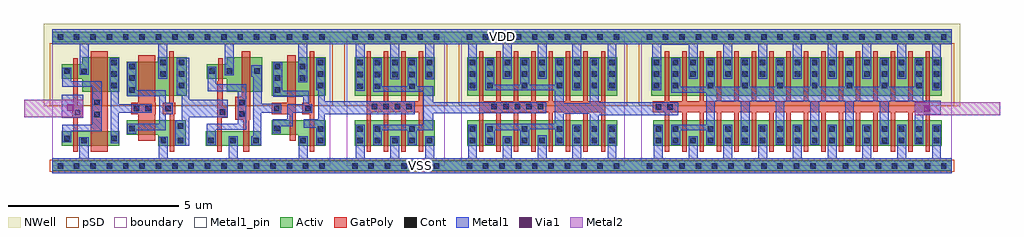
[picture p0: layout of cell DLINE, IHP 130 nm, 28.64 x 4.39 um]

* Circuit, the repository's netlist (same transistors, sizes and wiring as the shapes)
* Extracted by KLayout with SG13G2 LVS runset on : 07/03/2026 14:18

.SUBCKT DLINE VSS VOUT VIN VDD
M$1 \$2 VIN VSS VSS sg13_lv_nmos L=0.13u W=0.42u AS=0.1428p AD=0.0798p PS=1.52u
+ PD=0.8u
M$2 VSS \$2 \$3 VSS sg13_lv_nmos L=0.5u W=0.42u AS=0.0798p AD=0.1428p PS=0.8u
+ PD=1.52u
M$3 \$5 \$4 VSS VSS sg13_lv_nmos L=0.13u W=0.42u AS=0.1428p AD=0.1323p PS=1.52u
+ PD=1.05u
M$4 VSS \$5 \$6 VSS sg13_lv_nmos L=0.18u W=0.42u AS=0.1323p AD=0.1428p PS=1.05u
+ PD=1.52u
M$5 VSS \$3 \$12 VSS sg13_lv_nmos L=0.5u W=0.42u AS=0.1426p AD=0.1428p PS=1.16u
+ PD=1.52u
M$6 VSS \$12 \$4 VSS sg13_lv_nmos L=0.13u W=0.74u AS=0.1426p AD=0.2516p
+ PS=1.16u PD=2.16u
M$7 VSS \$6 \$13 VSS sg13_lv_nmos L=0.18u W=0.42u AS=0.1405p AD=0.2163p
+ PS=1.15u PD=1.87u
M$8 VSS \$13 \$7 VSS sg13_lv_nmos L=0.13u W=0.74u AS=0.1405p AD=0.2516p
+ PS=1.15u PD=2.16u
M$9 VSS \$7 \$8 VSS sg13_lv_nmos L=0.13u W=2.96u AS=0.6734p AD=0.6734p PS=5.52u
+ PD=5.52u
M$13 VSS \$8 \$9 VSS sg13_lv_nmos L=0.13u W=5.92u AS=1.2395p AD=1.2395p
+ PS=10.01u PD=10.01u
M$21 VSS \$9 VOUT VSS sg13_lv_nmos L=0.13u W=11.84u AS=2.3606p AD=2.3606p
+ PS=18.96u PD=18.96u
M$37 VDD VIN \$2 VDD sg13_lv_pmos L=0.13u W=0.42u AS=0.1523p AD=0.1428p
+ PS=1.38u PD=1.52u
M$38 VDD \$2 \$3 VDD sg13_lv_pmos L=0.5u W=1u AS=0.1523p AD=0.34p PS=1.38u
+ PD=2.68u
M$39 VDD \$4 \$5 VDD sg13_lv_pmos L=0.13u W=0.42u AS=0.2481p AD=0.1428p
+ PS=1.56u PD=1.52u
M$40 VDD \$5 \$6 VDD sg13_lv_pmos L=0.25u W=1u AS=0.2481p AD=0.34p PS=1.56u
+ PD=2.68u
M$41 \$12 \$3 VDD VDD sg13_lv_pmos L=0.5u W=1u AS=0.34p AD=0.2254p PS=2.68u
+ PD=1.53u
M$42 VDD \$12 \$4 VDD sg13_lv_pmos L=0.13u W=1.12u AS=0.2254p AD=0.4256p
+ PS=1.53u PD=3u
M$43 \$13 \$6 VDD VDD sg13_lv_pmos L=0.25u W=1u AS=0.445p AD=0.2245p PS=2.89u
+ PD=1.53u
M$44 VDD \$13 \$7 VDD sg13_lv_pmos L=0.13u W=1.12u AS=0.2245p AD=0.3808p
+ PS=1.53u PD=2.92u
M$45 VDD \$7 \$8 VDD sg13_lv_pmos L=0.13u W=4.48u AS=1.0192p AD=1.0192p
+ PS=7.42u PD=7.42u
M$49 VDD \$8 \$9 VDD sg13_lv_pmos L=0.13u W=8.96u AS=1.876p AD=1.876p PS=13.43u
+ PD=13.43u
M$57 VDD \$9 VOUT VDD sg13_lv_pmos L=0.13u W=17.92u AS=3.6288p AD=3.5728p
+ PS=25.52u PD=25.42u
.ENDS DLINE

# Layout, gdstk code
from math import pi, radians
import gdstk
lib = gdstk.Library(unit=1e-6, precision=1e-09)
def R(c, l, rs):  # rectangles x0, y0, x1, y1
    for r in rs: c.add(gdstk.rectangle(r[:2], r[2:], *l))
def A(c, l, x, y, w, h, nx, ny, dx, dy):  # array of equal rectangles
    R(c, l, [(x+i*dx, y+j*dy, x+i*dx+w, y+j*dy+h) for i in range(nx) for j in range(ny)])
def P(c, l, *ps):  # polygons
    for p in ps: c.add(gdstk.Polygon(p, *l))
Activ = (1, 0)
GatPoly = (5, 0)
Cont = (6, 0)
Metal1 = (8, 0)
Metal1_pin = (8, 2)
Metal2 = (10, 0)
pSD = (14, 0)
Via1 = (19, 0)
NWell = (31, 0)
boundary = (189, 4)

sg13g2_dlygate4sd2_1 = lib.new_cell('sg13g2_dlygate4sd2_1')
R(sg13g2_dlygate4sd2_1, Activ, [(-4.79,81.345,-0.95,81.645), (-4.6,82.085,-2.98,82.505), (-4.79,85.125,-0.95,85.425)])
P(sg13g2_dlygate4sd2_1, Activ, [(-1.895,82.085),(-1.895,82.405),(-2.66,82.405),(-2.66,82.825),(-1.085,82.825),(-1.085,82.085)],
  [(-2.66,83.555),(-2.66,84.555),(-1.88,84.555),(-1.88,84.675),(-1.085,84.675),(-1.085,83.555)],
  [(-3.99,83.675),(-3.99,84.05),(-4.57,84.05),(-4.57,84.47),(-3.99,84.47),(-3.99,84.675),(-2.95,84.675),(-2.95,83.675)])
P(sg13g2_dlygate4sd2_1, GatPoly, [(-2.145,82.225),(-2.145,83.015),(-2.67,83.015),(-2.67,83.345),(-2.215,83.345),(-2.215,84.735),(-1.965,84.735),(-1.965,82.225)],
  [(-4.26,81.905),(-4.26,83.975),(-4.23,83.975),(-4.23,84.65),(-4.1,84.65),(-4.1,83.235),(-3.95,83.235),(-3.95,82.905),(-4.13,82.905),(-4.13,81.905)],
  [(-3.5,81.905),(-3.5,82.845),(-3.74,82.845),(-3.74,83.515),(-3.54,83.515),(-3.54,84.855),(-3.29,84.855),(-3.29,82.845),(-3.32,82.845),(-3.32,81.905)],
  [(-1.555,81.905),(-1.555,83.01),(-1.77,83.01),(-1.77,83.34),(-1.555,83.34),(-1.555,84.855),(-1.425,84.855),(-1.425,81.905)])
A(sg13g2_dlygate4sd2_1, Cont, -4.63, 81.415, 0.16, 0.16, 8, 2, 0.48, 3.78)
A(sg13g2_dlygate4sd2_1, Cont, -2.575, 83.645, 0.16, 0.16, 1, 3, 0, 0.34)
A(sg13g2_dlygate4sd2_1, Cont, -1.315, 83.765, 0.16, 0.16, 1, 3, 0, 0.34)
R(sg13g2_dlygate4sd2_1, Cont, [(-4.53,82.155,-4.37,82.315), (-3.88,82.155,-3.72,82.315), (-3.21,82.155,-3.05,82.315), (-1.825,82.155,-1.665,82.315), (-1.315,82.155,-1.155,82.315), (-1.315,82.495,-1.155,82.655), (-2.59,82.51,-2.43,82.67), (-3.625,82.93,-3.465,83.09), (-4.185,82.99,-4.025,83.15), (-1.685,83.095,-1.525,83.255), (-2.6,83.1,-2.44,83.26), (-3.625,83.27,-3.465,83.43), (-1.84,83.99,-1.68,84.15), (-4.5,84.195,-4.34,84.355), (-3.99,84.195,-3.83,84.355), (-3.18,84.195,-3.02,84.355), (-1.84,84.33,-1.68,84.49)])
R(sg13g2_dlygate4sd2_1, Metal1, [(-4.585,82.92,-3.955,83.44)])
P(sg13g2_dlygate4sd2_1, Metal1, [(-2.635,82.455),(-2.635,82.855),(-2.21,82.855),(-2.21,83.305),(-1.745,83.305),(-1.745,83.525),(-2.625,83.525),(-2.625,84.535),(-2.365,84.535),(-2.365,83.7),(-1.585,83.7),(-1.585,83.305),(-1.475,83.305),(-1.475,83.045),(-2.05,83.045),(-2.05,82.655),(-2.395,82.655),(-2.395,82.455)],
  [(-3.27,82.105),(-3.27,82.365),(-3.21,82.365),(-3.21,84.11),(-3.27,84.11),(-3.27,84.44),(-2.965,84.44),(-2.965,83.31),(-2.39,83.31),(-2.39,83.05),(-2.98,83.05),(-2.98,82.105)],
  [(-4.58,82.105),(-4.58,82.735),(-3.67,82.735),(-3.67,83.69),(-4.55,83.69),(-4.55,84.405),(-4.29,84.405),(-4.29,83.895),(-3.415,83.895),(-3.415,82.56),(-4.31,82.56),(-4.31,82.105)],
  [(-1.365,82.105),(-1.365,82.61),(-1.725,82.61),(-1.725,82.865),(-1.295,82.865),(-1.295,83.715),(-1.36,83.715),(-1.36,84.655),(-1.105,84.655),(-1.105,82.105)],
  [(-1.89,83.95),(-1.89,85.055),(-3.78,85.055),(-3.78,84.145),(-4.045,84.145),(-4.045,85.055),(-4.79,85.055),(-4.79,85.495),(-0.95,85.495),(-0.95,85.055),(-1.63,85.055),(-1.63,83.95)],
  [(-4.79,81.275),(-4.79,81.715),(-3.93,81.715),(-3.93,82.365),(-3.67,82.365),(-3.67,81.715),(-1.875,81.715),(-1.875,82.365),(-1.615,82.365),(-1.615,81.715),(-0.95,81.715),(-0.95,81.275)])
R(sg13g2_dlygate4sd2_1, Metal1_pin, [(-4.79,81.275,-0.95,81.715), (-4.79,85.055,-0.95,85.495)])
R(sg13g2_dlygate4sd2_1, pSD, [(-4.86,81.315,-0.88,81.675), (-4.86,83.255,-0.88,85.095)])
R(sg13g2_dlygate4sd2_1, NWell, [(-5.03,83.245,-0.71,85.665)])
R(sg13g2_dlygate4sd2_1, boundary, [(-4.79,81.495,-0.95,85.275)])
sg13g2_dlygate4sd2_1.add(gdstk.Label('VDD', (-2.705,85.285), layer=8, texttype=25))
sg13g2_dlygate4sd2_1.add(gdstk.Label('VSS', (-2.59,81.5), layer=8, texttype=25))

sg13g2_inv_4 = lib.new_cell('sg13g2_inv_4')
R(sg13g2_inv_4, Activ, [(-4.79,81.345,-1.91,81.645), (-4.545,82.085,-2.205,82.825), (-4.545,83.555,-2.205,84.675), (-4.79,85.125,-1.91,85.425)])
P(sg13g2_inv_4, GatPoly, [(-4.205,81.905),(-4.205,84.855),(-4.075,84.855),(-4.075,83.395),(-3.695,83.395),(-3.695,84.855),(-3.565,84.855),(-3.565,83.395),(-3.185,83.395),(-3.185,84.855),(-3.055,84.855),(-3.055,83.395),(-2.675,83.395),(-2.675,84.855),(-2.545,84.855),(-2.545,81.905),(-2.675,81.905),(-2.675,83.065),(-3.055,83.065),(-3.055,81.905),(-3.185,81.905),(-3.185,83.065),(-3.565,83.065),(-3.565,81.905),(-3.695,81.905),(-3.695,83.065),(-4.075,83.065),(-4.075,81.905)])
A(sg13g2_inv_4, Cont, -4.475, 82.155, 0.16, 0.16, 5, 2, 0.51, 2.285)
A(sg13g2_inv_4, Cont, -4.055, 83.15, 0.16, 0.16, 4, 1, 0.34, 0)
R(sg13g2_inv_4, Cont, [(-4.63,81.415,-4.47,81.575), (-4.63,81.415,-4.47,81.575), (-4.15,81.415,-3.99,81.575), (-4.15,81.415,-3.99,81.575), (-3.67,81.415,-3.51,81.575), (-3.67,81.415,-3.51,81.575), (-3.19,81.415,-3.03,81.575), (-3.19,81.415,-3.03,81.575), (-2.71,81.415,-2.55,81.575), (-2.71,81.415,-2.55,81.575), (-2.23,81.415,-2.07,81.575), (-2.23,81.415,-2.07,81.575), (-4.475,82.495,-4.315,82.655), (-3.965,82.495,-3.805,82.655), (-2.945,82.495,-2.785,82.655), (-4.475,83.75,-4.315,83.91), (-3.965,83.75,-3.805,83.91), (-2.945,83.75,-2.785,83.91), (-3.455,84.09,-3.295,84.25), (-2.435,84.09,-2.275,84.25), (-4.475,84.1,-4.315,84.26), (-3.965,84.1,-3.805,84.26), (-2.945,84.1,-2.785,84.26), (-4.63,85.195,-4.47,85.355), (-4.63,85.195,-4.47,85.355), (-4.15,85.195,-3.99,85.355), (-4.15,85.195,-3.99,85.355), (-3.67,85.195,-3.51,85.355), (-3.67,85.195,-3.51,85.355), (-3.19,85.195,-3.03,85.355), (-3.19,85.195,-3.03,85.355), (-2.71,85.195,-2.55,85.355), (-2.71,85.195,-2.55,85.355), (-2.23,85.195,-2.07,85.355), (-2.23,85.195,-2.07,85.355)])
R(sg13g2_inv_4, Metal1, [(-4.31,83.015,-2.79,83.395)])
P(sg13g2_inv_4, Metal1, [(-4.015,82.105),(-4.015,82.705),(-2.545,82.705),(-2.545,83.665),(-4.015,83.665),(-4.015,84.65),(-3.755,84.65),(-3.755,83.835),(-2.995,83.835),(-2.995,84.65),(-2.735,84.65),(-2.735,83.835),(-2.25,83.835),(-2.25,82.545),(-2.735,82.545),(-2.735,82.105),(-2.995,82.105),(-2.995,82.545),(-3.755,82.545),(-3.755,82.105)],
  [(-4.525,83.7),(-4.525,85.055),(-4.79,85.055),(-4.79,85.495),(-1.91,85.495),(-1.91,85.055),(-2.225,85.055),(-2.225,84.04),(-2.485,84.04),(-2.485,85.055),(-3.245,85.055),(-3.245,84.04),(-3.505,84.04),(-3.505,85.055),(-4.265,85.055),(-4.265,83.7)],
  [(-4.79,81.275),(-4.79,81.715),(-4.525,81.715),(-4.525,82.705),(-4.265,82.705),(-4.265,81.715),(-3.51,81.715),(-3.51,82.365),(-3.24,82.365),(-3.24,81.715),(-2.485,81.715),(-2.485,82.365),(-2.225,82.365),(-2.225,81.715),(-1.91,81.715),(-1.91,81.275)])
R(sg13g2_inv_4, Metal1_pin, [(-4.79,81.275,-1.91,81.715), (-4.79,85.055,-1.91,85.495)])
R(sg13g2_inv_4, pSD, [(-4.86,81.315,-1.84,81.675), (-4.86,83.255,-1.84,85.095)])
R(sg13g2_inv_4, NWell, [(-5.03,83.245,-1.67,85.665)])
R(sg13g2_inv_4, boundary, [(-4.79,81.495,-1.91,85.275)])
sg13g2_inv_4.add(gdstk.Label('VDD', (-2.865,85.295), layer=8, texttype=25))
sg13g2_inv_4.add(gdstk.Label('VSS', (-3.385,81.5), layer=8, texttype=25))

sg13g2_inv_8 = lib.new_cell('sg13g2_inv_8')
R(sg13g2_inv_8, Activ, [(-4.79,81.345,0.01,81.645), (-4.605,82.085,-0.215,82.825), (-4.605,83.555,-0.215,84.675), (-4.79,85.125,0.01,85.425)])
P(sg13g2_inv_8, GatPoly, [(-4.265,81.905),(-4.265,84.855),(-4.135,84.855),(-4.135,83.395),(-3.755,83.395),(-3.755,84.855),(-3.625,84.855),(-3.625,83.395),(-3.245,83.395),(-3.245,84.855),(-3.115,84.855),(-3.115,83.395),(-2.735,83.395),(-2.735,84.855),(-2.605,84.855),(-2.605,83.395),(-2.225,83.395),(-2.225,84.855),(-2.095,84.855),(-2.095,83.395),(-1.715,83.395),(-1.715,84.855),(-1.585,84.855),(-1.585,83.395),(-1.205,83.395),(-1.205,84.855),(-1.075,84.855),(-1.075,83.395),(-0.685,83.395),(-0.685,84.855),(-0.555,84.855),(-0.555,81.905),(-0.685,81.905),(-0.685,83.065),(-1.075,83.065),(-1.075,81.905),(-1.205,81.905),(-1.205,83.065),(-1.585,83.065),(-1.585,81.905),(-1.715,81.905),(-1.715,83.065),(-2.095,83.065),(-2.095,81.905),(-2.225,81.905),(-2.225,83.065),(-2.605,83.065),(-2.605,81.905),(-2.735,81.905),(-2.735,83.065),(-3.115,83.065),(-3.115,81.905),(-3.245,81.905),(-3.245,83.065),(-3.625,83.065),(-3.625,81.905),(-3.755,81.905),(-3.755,83.065),(-4.135,83.065),(-4.135,81.905)])
A(sg13g2_inv_8, Cont, -4.535, 82.155, 0.16, 0.16, 8, 2, 0.51, 1.95)
A(sg13g2_inv_8, Cont, -4.025, 82.495, 0.16, 0.16, 3, 2, 1.02, 1.27)
A(sg13g2_inv_8, Cont, -3.9, 83.15, 0.16, 0.16, 5, 1, 0.34, 0)
A(sg13g2_inv_8, Cont, -0.445, 83.765, 0.16, 0.16, 1, 3, 0, 0.34)
A(sg13g2_inv_8, Cont, -4.535, 84.445, 0.16, 0.16, 8, 1, 0.51, 0)
R(sg13g2_inv_8, Cont, [(-4.63,81.415,-4.47,81.575), (-4.63,81.415,-4.47,81.575), (-4.15,81.415,-3.99,81.575), (-4.15,81.415,-3.99,81.575), (-3.67,81.415,-3.51,81.575), (-3.67,81.415,-3.51,81.575), (-3.19,81.415,-3.03,81.575), (-3.19,81.415,-3.03,81.575), (-2.71,81.415,-2.55,81.575), (-2.71,81.415,-2.55,81.575), (-2.23,81.415,-2.07,81.575), (-2.23,81.415,-2.07,81.575), (-1.75,81.415,-1.59,81.575), (-1.75,81.415,-1.59,81.575), (-1.27,81.415,-1.11,81.575), (-1.27,81.415,-1.11,81.575), (-0.79,81.415,-0.63,81.575), (-0.79,81.415,-0.63,81.575), (-0.31,81.415,-0.15,81.575), (-0.31,81.415,-0.15,81.575), (-0.445,82.155,-0.285,82.315), (-4.535,82.495,-4.375,82.655), (-1.475,82.495,-1.315,82.655), (-0.965,82.495,-0.805,82.655), (-0.445,82.495,-0.285,82.655), (-4.535,83.765,-4.375,83.925), (-1.475,83.765,-1.315,83.925), (-0.965,83.765,-0.805,83.925), (-4.63,85.195,-4.47,85.355), (-4.63,85.195,-4.47,85.355), (-4.15,85.195,-3.99,85.355), (-4.15,85.195,-3.99,85.355), (-3.67,85.195,-3.51,85.355), (-3.67,85.195,-3.51,85.355), (-3.19,85.195,-3.03,85.355), (-3.19,85.195,-3.03,85.355), (-2.71,85.195,-2.55,85.355), (-2.71,85.195,-2.55,85.355), (-2.23,85.195,-2.07,85.355), (-2.23,85.195,-2.07,85.355), (-1.75,85.195,-1.59,85.355), (-1.75,85.195,-1.59,85.355), (-1.27,85.195,-1.11,85.355), (-1.27,85.195,-1.11,85.355), (-0.79,85.195,-0.63,85.355), (-0.79,85.195,-0.63,85.355), (-0.31,85.195,-0.15,85.355), (-0.31,85.195,-0.15,85.355)])
R(sg13g2_inv_8, Metal1, [(-3.985,83.03,-2.295,83.36)])
P(sg13g2_inv_8, Metal1, [(-4.79,81.275),(-4.79,81.715),(-4.585,81.715),(-4.585,82.705),(-4.325,82.705),(-4.325,81.715),(-3.565,81.715),(-3.565,82.365),(-3.305,82.365),(-3.305,81.715),(-2.545,81.715),(-2.545,82.385),(-2.285,82.385),(-2.285,81.715),(-1.525,81.715),(-1.525,82.705),(-1.265,82.705),(-1.265,81.715),(-0.495,81.715),(-0.495,82.705),(-0.235,82.705),(-0.235,81.715),(0.01,81.715),(0.01,81.275)],
  [(-4.585,83.715),(-4.585,85.055),(-4.79,85.055),(-4.79,85.495),(0.01,85.495),(0.01,85.055),(-0.235,85.055),(-0.235,83.715),(-0.495,83.715),(-0.495,85.055),(-1.265,85.055),(-1.265,83.715),(-1.525,83.715),(-1.525,85.055),(-2.285,85.055),(-2.285,84.055),(-2.545,84.055),(-2.545,85.055),(-3.305,85.055),(-3.305,84.055),(-3.565,84.055),(-3.565,85.055),(-4.325,85.055),(-4.325,83.715)],
  [(-3.055,82.105),(-3.055,82.545),(-3.81,82.545),(-3.81,82.115),(-4.075,82.115),(-4.075,82.725),(-2.05,82.725),(-2.05,83.715),(-4.075,83.715),(-4.075,84.655),(-3.815,84.655),(-3.815,83.875),(-3.055,83.875),(-3.055,84.655),(-2.795,84.655),(-2.795,83.875),(-2.035,83.875),(-2.035,84.655),(-1.775,84.655),(-1.775,83.335),(-1.015,83.335),(-1.015,84.655),(-0.755,84.655),(-0.755,82.105),(-1.015,82.105),(-1.015,83.025),(-1.775,83.025),(-1.775,82.105),(-2.035,82.105),(-2.035,82.565),(-2.79,82.565),(-2.79,82.105)])
R(sg13g2_inv_8, Metal1_pin, [(-4.79,81.275,0.01,81.715), (-4.79,85.055,0.01,85.495)])
R(sg13g2_inv_8, pSD, [(-4.86,81.315,0.08,81.675), (-4.86,83.255,0.08,85.095)])
R(sg13g2_inv_8, NWell, [(-5.03,83.245,0.25,85.665)])
R(sg13g2_inv_8, boundary, [(-4.79,81.495,0.01,85.275)])
sg13g2_inv_8.add(gdstk.Label('VSS', (-2.48,81.475), layer=8, texttype=25))
sg13g2_inv_8.add(gdstk.Label('VDD', (-2.08,85.275), layer=8, texttype=25))

sg13g2_dlygate4sd3_1 = lib.new_cell('sg13g2_dlygate4sd3_1')
R(sg13g2_dlygate4sd3_1, Activ, [(-4.79,81.345,-0.47,81.645), (-4.51,82.085,-2.82,82.505), (-4.79,85.125,-0.47,85.425)])
P(sg13g2_dlygate4sd3_1, Activ, [(-2.6,83.555),(-2.6,84.555),(-1.69,84.555),(-1.69,84.675),(-0.84,84.675),(-0.84,83.555)],
  [(-1.68,82.085),(-1.68,82.405),(-2.6,82.405),(-2.6,82.825),(-0.87,82.825),(-0.87,82.085)],
  [(-3.91,83.675),(-3.91,84.05),(-4.51,84.05),(-4.51,84.47),(-3.91,84.47),(-3.91,84.675),(-2.82,84.675),(-2.82,83.675)])
R(sg13g2_dlygate4sd3_1, GatPoly, [(-3.66,81.905,-3.16,84.855)])
P(sg13g2_dlygate4sd3_1, GatPoly, [(-4.17,81.905),(-4.17,82.905),(-4.2,82.905),(-4.2,83.235),(-4.17,83.235),(-4.17,84.65),(-4.04,84.65),(-4.04,83.235),(-3.87,83.235),(-3.87,82.905),(-4.04,82.905),(-4.04,81.905)],
  [(-1.34,81.905),(-1.34,83.01),(-1.545,83.01),(-1.545,83.34),(-1.35,83.34),(-1.35,84.855),(-1.22,84.855),(-1.22,83.34),(-1.18,83.34),(-1.18,83.01),(-1.21,83.01),(-1.21,81.905)],
  [(-2.26,82.225),(-2.26,83.015),(-2.475,83.015),(-2.475,83.345),(-2.26,83.345),(-2.26,84.735),(-1.76,84.735),(-1.76,83.345),(-1.755,83.345),(-1.755,83.015),(-1.76,83.015),(-1.76,82.225)])
A(sg13g2_dlygate4sd3_1, Cont, -2.53, 83.645, 0.16, 0.16, 1, 3, 0, 0.34)
A(sg13g2_dlygate4sd3_1, Cont, -3.05, 83.765, 0.16, 0.16, 1, 3, 0, 0.34)
A(sg13g2_dlygate4sd3_1, Cont, -1.07, 83.765, 0.16, 0.16, 1, 3, 0, 0.34)
R(sg13g2_dlygate4sd3_1, Cont, [(-4.63,81.415,-4.47,81.575), (-4.63,81.415,-4.47,81.575), (-4.15,81.415,-3.99,81.575), (-4.15,81.415,-3.99,81.575), (-3.67,81.415,-3.51,81.575), (-3.67,81.415,-3.51,81.575), (-3.19,81.415,-3.03,81.575), (-3.19,81.415,-3.03,81.575), (-2.71,81.415,-2.55,81.575), (-2.71,81.415,-2.55,81.575), (-2.23,81.415,-2.07,81.575), (-2.23,81.415,-2.07,81.575), (-1.75,81.415,-1.59,81.575), (-1.75,81.415,-1.59,81.575), (-1.27,81.415,-1.11,81.575), (-1.27,81.415,-1.11,81.575), (-0.79,81.415,-0.63,81.575), (-0.79,81.415,-0.63,81.575), (-3.93,82.155,-3.77,82.315), (-1.1,82.155,-0.94,82.315), (-1.61,82.16,-1.45,82.32), (-4.44,82.21,-4.28,82.37), (-3.05,82.21,-2.89,82.37), (-2.53,82.505,-2.37,82.665), (-1.1,82.585,-0.94,82.745), (-3.55,82.925,-3.39,83.085), (-4.12,82.985,-3.96,83.145), (-1.465,83.09,-1.305,83.25), (-2.395,83.095,-2.235,83.255), (-2.055,83.095,-1.895,83.255), (-3.55,83.28,-3.39,83.44), (-1.62,84.105,-1.46,84.265), (-4.44,84.19,-4.28,84.35), (-3.93,84.19,-3.77,84.35), (-1.62,84.445,-1.46,84.605), (-4.63,85.195,-4.47,85.355), (-4.63,85.195,-4.47,85.355), (-4.15,85.195,-3.99,85.355), (-4.15,85.195,-3.99,85.355), (-3.67,85.195,-3.51,85.355), (-3.67,85.195,-3.51,85.355), (-3.19,85.195,-3.03,85.355), (-3.19,85.195,-3.03,85.355), (-2.71,85.195,-2.55,85.355), (-2.71,85.195,-2.55,85.355), (-2.23,85.195,-2.07,85.355), (-2.23,85.195,-2.07,85.355), (-1.75,85.195,-1.59,85.355), (-1.75,85.195,-1.59,85.355), (-1.27,85.195,-1.11,85.355), (-1.27,85.195,-1.11,85.355), (-0.79,85.195,-0.63,85.355), (-0.79,85.195,-0.63,85.355)])
R(sg13g2_dlygate4sd3_1, Metal1, [(-4.505,82.905,-3.875,83.575)])
P(sg13g2_dlygate4sd3_1, Metal1, [(-1.18,82.09),(-1.18,82.835),(-0.985,82.835),(-0.985,83.57),(-1.135,83.57),(-1.135,84.665),(-0.77,84.665),(-0.77,82.09)],
  [(-4.79,81.275),(-4.79,81.715),(-3.99,81.715),(-3.99,82.33),(-3.72,82.33),(-3.72,81.715),(-1.66,81.715),(-1.66,82.345),(-1.4,82.345),(-1.4,81.715),(-0.47,81.715),(-0.47,81.275)],
  [(-1.67,84.055),(-1.67,85.055),(-3.72,85.055),(-3.72,84.16),(-3.98,84.16),(-3.98,85.055),(-4.79,85.055),(-4.79,85.495),(-0.47,85.495),(-0.47,85.055),(-1.41,85.055),(-1.41,84.055)],
  [(-2.585,82.44),(-2.585,82.73),(-1.64,82.73),(-1.64,83.54),(-2.58,83.54),(-2.58,84.535),(-2.32,84.535),(-2.32,83.71),(-1.45,83.71),(-1.45,83.34),(-1.255,83.34),(-1.255,83.01),(-1.45,83.01),(-1.45,82.54),(-2.32,82.54),(-2.32,82.44)],
  [(-3.07,82.16),(-3.07,83.715),(-3.1,83.715),(-3.1,84.655),(-2.835,84.655),(-2.835,83.305),(-1.865,83.305),(-1.865,83.045),(-2.835,83.045),(-2.835,82.16)],
  [(-4.49,82.185),(-4.49,82.7),(-3.615,82.7),(-3.615,83.815),(-4.49,83.815),(-4.49,84.375),(-4.23,84.375),(-4.23,83.975),(-3.335,83.975),(-3.335,82.51),(-4.23,82.51),(-4.23,82.185)])
R(sg13g2_dlygate4sd3_1, Metal1_pin, [(-4.79,81.275,-0.47,81.715), (-4.79,85.055,-0.47,85.495)])
R(sg13g2_dlygate4sd3_1, pSD, [(-4.86,81.315,-0.4,81.675), (-4.86,83.255,-0.4,85.095)])
R(sg13g2_dlygate4sd3_1, NWell, [(-5.03,83.245,-0.23,85.665)])
R(sg13g2_dlygate4sd3_1, boundary, [(-4.79,81.495,-0.47,85.275)])
sg13g2_dlygate4sd3_1.add(gdstk.Label('VDD', (-2.63,85.275), layer=8, texttype=25))
sg13g2_dlygate4sd3_1.add(gdstk.Label('VSS', (-2.63,81.495), layer=8, texttype=25))

sg13g2_inv_16 = lib.new_cell('sg13g2_inv_16')
R(sg13g2_inv_16, Activ, [(4.79,81.345,13.91,81.645), (5.095,82.085,13.555,82.825), (5.095,83.555,13.605,84.675), (4.79,85.125,13.91,85.425)])
R(sg13g2_inv_16, GatPoly, [(13.215,83.065,13.575,83.395)])
P(sg13g2_inv_16, GatPoly, [(5.435,81.905),(5.435,84.855),(5.565,84.855),(5.565,83.395),(5.945,83.395),(5.945,84.855),(6.075,84.855),(6.075,83.395),(6.455,83.395),(6.455,84.855),(6.585,84.855),(6.585,83.395),(6.965,83.395),(6.965,84.855),(7.095,84.855),(7.095,83.395),(7.475,83.395),(7.475,84.855),(7.605,84.855),(7.605,83.395),(7.985,83.395),(7.985,84.855),(8.115,84.855),(8.115,83.395),(8.495,83.395),(8.495,84.855),(8.625,84.855),(8.625,83.395),(9.005,83.395),(9.005,84.855),(9.135,84.855),(9.135,83.395),(9.515,83.395),(9.515,84.855),(9.645,84.855),(9.645,83.395),(10.025,83.395),(10.025,84.855),(10.155,84.855),(10.155,83.395),(10.535,83.395),(10.535,84.855),(10.665,84.855),(10.665,83.395),(11.045,83.395),(11.045,84.855),(11.175,84.855),(11.175,83.395),(11.555,83.395),(11.555,84.855),(11.685,84.855),(11.685,83.395),(12.065,83.395),(12.065,84.855),(12.195,84.855),(12.195,83.395),(12.575,83.395),(12.575,84.855),(12.705,84.855),(12.705,83.395),(13.085,83.395),(13.085,84.855),(13.215,84.855),(13.215,81.905),(13.085,81.905),(13.085,83.065),(12.705,83.065),(12.705,81.905),(12.575,81.905),(12.575,83.065),(12.195,83.065),(12.195,81.905),(12.065,81.905),(12.065,83.065),(11.685,83.065),(11.685,81.905),(11.555,81.905),(11.555,83.065),(11.175,83.065),(11.175,81.905),(11.045,81.905),(11.045,83.065),(10.665,83.065),(10.665,81.905),(10.535,81.905),(10.535,83.065),(10.155,83.065),(10.155,81.905),(10.025,81.905),(10.025,83.065),(9.645,83.065),(9.645,81.905),(9.515,81.905),(9.515,83.065),(9.135,83.065),(9.135,81.905),(9.005,81.905),(9.005,83.065),(8.625,83.065),(8.625,81.905),(8.495,81.905),(8.495,83.065),(8.115,83.065),(8.115,81.905),(7.985,81.905),(7.985,83.065),(7.605,83.065),(7.605,81.905),(7.475,81.905),(7.475,83.065),(7.095,83.065),(7.095,81.905),(6.965,81.905),(6.965,83.065),(6.585,83.065),(6.585,81.905),(6.455,81.905),(6.455,83.065),(6.075,83.065),(6.075,81.905),(5.945,81.905),(5.945,83.065),(5.565,83.065),(5.565,81.905)])
A(sg13g2_inv_16, Cont, 5.165, 82.155, 0.16, 0.16, 17, 1, 0.51, 0)
A(sg13g2_inv_16, Cont, 5.165, 82.495, 0.16, 0.16, 14, 1, 0.51, 0)
A(sg13g2_inv_16, Cont, 5.675, 83.765, 0.16, 0.16, 8, 1, 1.02, 0)
A(sg13g2_inv_16, Cont, 13.375, 83.765, 0.16, 0.16, 1, 3, 0, 0.34)
A(sg13g2_inv_16, Cont, 5.165, 84.105, 0.16, 0.16, 16, 2, 0.51, 0.34)
R(sg13g2_inv_16, Cont, [(4.95,81.415,5.11,81.575), (4.95,81.415,5.11,81.575), (5.43,81.415,5.59,81.575), (5.43,81.415,5.59,81.575), (5.91,81.415,6.07,81.575), (5.91,81.415,6.07,81.575), (6.39,81.415,6.55,81.575), (6.39,81.415,6.55,81.575), (6.87,81.415,7.03,81.575), (6.87,81.415,7.03,81.575), (7.35,81.415,7.51,81.575), (7.35,81.415,7.51,81.575), (7.83,81.415,7.99,81.575), (7.83,81.415,7.99,81.575), (8.31,81.415,8.47,81.575), (8.31,81.415,8.47,81.575), (8.79,81.415,8.95,81.575), (8.79,81.415,8.95,81.575), (9.27,81.415,9.43,81.575), (9.27,81.415,9.43,81.575), (9.75,81.415,9.91,81.575), (9.75,81.415,9.91,81.575), (10.23,81.415,10.39,81.575), (10.23,81.415,10.39,81.575), (10.71,81.415,10.87,81.575), (10.71,81.415,10.87,81.575), (11.19,81.415,11.35,81.575), (11.19,81.415,11.35,81.575), (11.67,81.415,11.83,81.575), (11.67,81.415,11.83,81.575), (12.15,81.415,12.31,81.575), (12.15,81.415,12.31,81.575), (12.63,81.415,12.79,81.575), (12.63,81.415,12.79,81.575), (13.11,81.415,13.27,81.575), (13.11,81.415,13.27,81.575), (13.59,81.415,13.75,81.575), (13.59,81.415,13.75,81.575), (12.815,82.495,12.975,82.655), (13.325,82.495,13.485,82.655), (12.985,83.145,13.145,83.305), (13.325,83.145,13.485,83.305), (5.165,83.765,5.325,83.925), (4.95,85.195,5.11,85.355), (4.95,85.195,5.11,85.355), (5.43,85.195,5.59,85.355), (5.43,85.195,5.59,85.355), (5.91,85.195,6.07,85.355), (5.91,85.195,6.07,85.355), (6.39,85.195,6.55,85.355), (6.39,85.195,6.55,85.355), (6.87,85.195,7.03,85.355), (6.87,85.195,7.03,85.355), (7.35,85.195,7.51,85.355), (7.35,85.195,7.51,85.355), (7.83,85.195,7.99,85.355), (7.83,85.195,7.99,85.355), (8.31,85.195,8.47,85.355), (8.31,85.195,8.47,85.355), (8.79,85.195,8.95,85.355), (8.79,85.195,8.95,85.355), (9.27,85.195,9.43,85.355), (9.27,85.195,9.43,85.355), (9.75,85.195,9.91,85.355), (9.75,85.195,9.91,85.355), (10.23,85.195,10.39,85.355), (10.23,85.195,10.39,85.355), (10.71,85.195,10.87,85.355), (10.71,85.195,10.87,85.355), (11.19,85.195,11.35,85.355), (11.19,85.195,11.35,85.355), (11.67,85.195,11.83,85.355), (11.67,85.195,11.83,85.355), (12.15,85.195,12.31,85.355), (12.15,85.195,12.31,85.355), (12.63,85.195,12.79,85.355), (12.63,85.195,12.79,85.355), (13.11,85.195,13.27,85.355), (13.11,85.195,13.27,85.355), (13.59,85.195,13.75,85.355), (13.59,85.195,13.75,85.355)])
R(sg13g2_inv_16, Metal1, [(12.815,82.985,13.575,83.365)])
P(sg13g2_inv_16, Metal1, [(4.79,81.275),(4.79,81.715),(5.115,81.715),(5.115,82.705),(5.375,82.705),(5.375,81.715),(6.135,81.715),(6.135,82.705),(6.395,82.705),(6.395,81.715),(7.155,81.715),(7.155,82.705),(7.415,82.705),(7.415,81.715),(8.175,81.715),(8.175,82.705),(8.435,82.705),(8.435,81.715),(9.195,81.715),(9.195,82.705),(9.455,82.705),(9.455,81.715),(10.215,81.715),(10.215,82.705),(10.475,82.705),(10.475,81.715),(11.235,81.715),(11.235,82.705),(11.495,82.705),(11.495,81.715),(12.255,81.715),(12.255,82.365),(12.515,82.365),(12.515,81.715),(13.275,81.715),(13.275,82.705),(13.535,82.705),(13.535,81.715),(13.91,81.715),(13.91,81.275)],
  [(5.115,83.715),(5.115,85.055),(4.79,85.055),(4.79,85.495),(13.91,85.495),(13.91,85.055),(13.585,85.055),(13.585,83.715),(13.325,83.715),(13.325,85.05),(12.515,85.05),(12.515,84.055),(12.255,84.055),(12.255,85.055),(11.495,85.055),(11.495,84.055),(11.235,84.055),(11.235,85.055),(10.475,85.055),(10.475,84.055),(10.215,84.055),(10.215,85.055),(9.455,85.055),(9.455,84.055),(9.195,84.055),(9.195,85.055),(8.435,85.055),(8.435,84.055),(8.175,84.055),(8.175,85.055),(7.415,85.055),(7.415,84.055),(7.155,84.055),(7.155,85.055),(6.395,85.055),(6.395,84.055),(6.135,84.055),(6.135,85.055),(5.375,85.055),(5.375,83.715)],
  [(7.665,82.12),(7.665,83.395),(6.905,83.395),(6.905,82.125),(6.645,82.125),(6.645,83.395),(5.885,83.395),(5.885,82.125),(5.625,82.125),(5.625,84.655),(5.885,84.655),(5.885,83.815),(6.645,83.815),(6.645,84.655),(6.905,84.655),(6.905,83.815),(7.665,83.815),(7.665,84.655),(7.925,84.655),(7.925,83.815),(8.685,83.815),(8.685,84.655),(8.945,84.655),(8.945,83.815),(9.705,83.815),(9.705,84.655),(9.965,84.655),(9.965,83.815),(10.725,83.815),(10.725,84.655),(10.985,84.655),(10.985,83.815),(11.745,83.815),(11.745,84.655),(12.005,84.655),(12.005,83.815),(12.765,83.815),(12.765,84.655),(13.025,84.655),(13.025,83.64),(12.005,83.64),(12.005,82.705),(13.025,82.705),(13.025,82.12),(12.765,82.12),(12.765,82.545),(12.005,82.545),(12.005,82.12),(11.745,82.12),(11.745,83.395),(10.985,83.395),(10.985,82.12),(10.725,82.12),(10.725,83.395),(9.965,83.395),(9.965,82.12),(9.705,82.12),(9.705,83.395),(8.945,83.395),(8.945,82.12),(8.685,82.12),(8.685,83.395),(7.925,83.395),(7.925,82.12)])
R(sg13g2_inv_16, Metal1_pin, [(4.79,81.275,13.91,81.715), (4.79,85.055,13.91,85.495)])
R(sg13g2_inv_16, pSD, [(4.725,81.315,13.98,81.675), (4.725,83.255,13.98,85.095)])
R(sg13g2_inv_16, NWell, [(4.55,83.245,14.15,85.665)])
R(sg13g2_inv_16, boundary, [(4.79,81.495,13.91,85.275)])
sg13g2_inv_16.add(gdstk.Label('VSS', (8.65,81.47), layer=8, texttype=25))
sg13g2_inv_16.add(gdstk.Label('VDD', (9.07,85.29), layer=8, texttype=25))

dline = lib.new_cell('DLINE')
R(dline, Activ, [(4.665,0.07,5.145,0.37), (8.985,0.07,9.465,0.37), (12.345,0.07,12.825,0.37), (17.625,0.07,18.105,0.37), (4.665,3.85,5.145,4.15), (8.985,3.85,9.465,4.15), (12.345,3.85,12.825,4.15), (17.625,3.85,18.105,4.15)])
R(dline, Metal1, [(4.665,0,5.145,0.44), (8.985,0,9.465,0.44), (12.345,0,12.825,0.44), (17.625,0,18.105,0.44), (4.63,1.645,5.35,2.165), (16.845,1.71,19.2,2.09), (8.64,1.74,9.945,2.12), (11.975,1.755,13.63,2.085), (4.665,3.78,5.145,4.22), (8.985,3.78,9.465,4.22), (12.345,3.78,12.825,4.22), (17.625,3.78,18.105,4.22)])
R(dline, Metal1_pin, [(0.825,0,27.225,0.44), (11.56,0.155,11.69,0.285), (0.825,3.78,27.225,4.22), (13.925,3.9,14.125,4.1)])
R(dline, Metal2, [(0,1.645,1.745,2.165), (26.13,1.71,28.635,2.09)])
R(dline, pSD, [(4.735,0.04,5.075,0.4), (9.055,0.04,9.395,0.4), (12.415,0.04,12.755,0.4), (17.695,0.04,18.04,0.4)])
R(dline, Via1, [(26.405,1.81,26.595,2), (1.265,1.83,1.455,2.02)])
dline.add(gdstk.FlexPath([(26.13,1.925),(26.89,1.925),(26.89,1.925)], 0.4, ends="flush", simple_path=True, layer=8, datatype=0))  # Metal1
dline.add(gdstk.Reference(sg13g2_dlygate4sd2_1, (9.935,-81.275)))
dline.add(gdstk.Reference(sg13g2_inv_4, (14.255,-81.275)))
dline.add(gdstk.Reference(sg13g2_inv_8, (17.615,-81.275)))
dline.add(gdstk.Reference(sg13g2_dlygate4sd3_1, (5.615,-81.275)))
dline.add(gdstk.Reference(sg13g2_inv_16, (32.015,-81.275), rotation=pi, x_reflection=True))
dline.add(gdstk.Label('VDD', (14.025,4), layer=8, texttype=25))
dline.add(gdstk.Label('VSS', (11.625,0.22), layer=8, texttype=25))

lib.write_gds('DLINE.gds')
